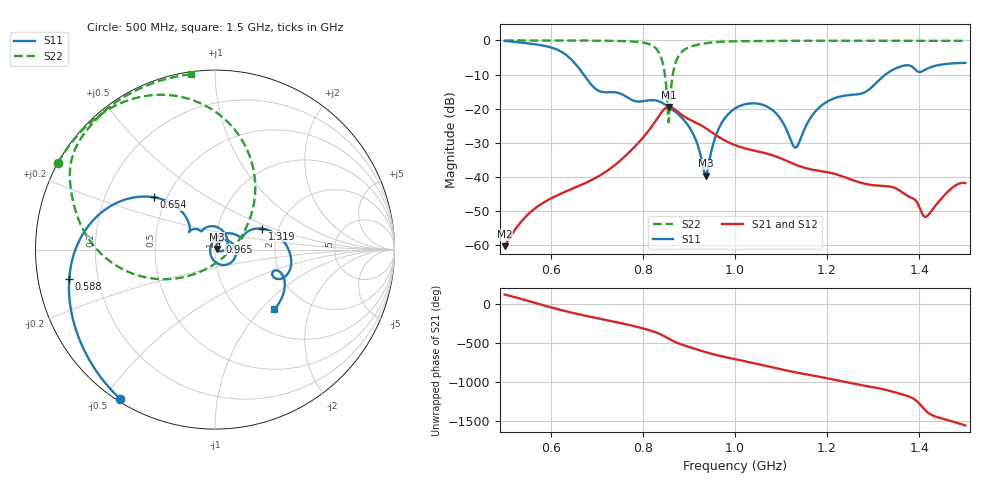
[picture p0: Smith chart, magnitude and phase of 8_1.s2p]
! TOUCHSTONE file generated by CST MICROWAVE STUDIO
! Date and time: Mon Oct 26 12:05:28 2020
! Project name: Scenario_1_Circular_Tissue_out_of_Line_v2.cst
! Parameters = {dy1=-224.9; L_HA=400; MT=2.54; Rad_Dielectric=30; Rad_Lower=7.3; Rad_Upper=30; a_HA=580; a_WG=246; b_HA=500; b_WG=121; c_HA=0; c_WG=187; d_feed=85; dx1=173; h_feed=15; h_lower=18; h_upper=40}
! Header version: 2018
! Port assignment regex: !\s*Touchstone port\s*([0-9]+)\s*=\s*(CST MWS port|CST DS port)\s*([0-9]+|Zmin|Zmax)\s*\(\"(.*)\"\)(\s*mode\s*([0-9]+))?.*
! Touchstone port assignment:
! Touchstone port 1 = CST MWS port 1 ("")
! Touchstone port 2 = CST MWS port 2 ("")
# GHz S DB R 50
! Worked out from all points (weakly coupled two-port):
!   1003 points, 500 MHz to 1.5 GHz, reference 50 ohm
!   highest |S21| = -19.48 dB at 857 MHz (marker M1); lowest = -60.3 dB at 500 MHz (marker M2)
!   lowest |S11| = -39.7 dB at 936 MHz (marker M3), VSWR 1.02, Z = 51 + j0.392 ohm
!   |S11| at or under -10 dB: 671.5 MHz to 1.327 GHz (655.1 MHz wide, 65.6 % of centre)
!   |S22| runs from -24.0 to 0.0 dB; largest |S21 - S12| = 2e-05
!   S11 on the Smith chart (normalised r, x): 500 MHz: 0.01, -0.55; 588 MHz: 0.09, -0.10; 654 MHz: 0.42, +0.31; 965 MHz: 1.05, +0.09; 1.319 GHz: 1.64, +0.42; 1.5 GHz: 1.40, -1.19
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0.5  -0.14 -122.6  -60.34 119.7  -60.34 119.7  -0.01 151.1
0.588  -1.63 -168.6  -47.28 -24.2  -47.28 -24.2  -0.02 145.0
0.654  -6.94 139.6  -43.08 -123.1  -43.08 -123.1  -0.04 139.6
0.667  -9.18 133.1  -42.32 -140.5  -42.32 -140.5  -0.04 138.4
0.703  -14.70 139.6  -39.91 174.6  -39.91 174.6  -0.07 134.5
0.781  -17.71 127.6  -31.36 75.9  -31.36 75.9  -0.34 120.0
0.834  -17.82 89.4  -22.32 -17.4  -22.32 -17.4  -3.34 81.0
0.846  -18.62 72.8  -20.22 -51.3  -20.22 -51.3  -8.41 54.0
0.857  -19.64 58.3  -19.48 -87.4  -19.48 -87.4  -22.83 -81.7
0.867  -20.58 45.0  -20.01 -118.2  -20.01 -118.2  -8.58 -154.1
0.878  -21.81 29.6  -21.15 -146.1  -21.15 -146.1  -4.46 -174.5
0.911  -27.93 -12.5  -23.84 149.5  -23.84 149.5  -1.53 160.8
0.936  -39.67 21.7  -25.68 103.8  -25.67 103.8  -0.83 152.9
0.965  -25.78 61.6  -28.33 58.7  -28.33 58.7  -0.42 146.1
1  -19.96 21.8  -30.69 13.3  -30.69 13.3  -0.26 140.2
1.075  -19.82 -56.9  -33.40 -83.5  -33.40 -83.5  -0.16 132.0
1.131  -31.44 175.0  -36.40 -154.5  -36.40 -154.5  -0.10 127.1
1.167  -22.09 74.5  -37.88 166.8  -37.88 166.8  -0.09 124.1
1.319  -10.84 24.1  -42.64 -8.0  -42.64 -8.0  -0.09 112.6
1.334  -9.29 15.7  -42.81 -29.1  -42.81 -29.1  -0.09 111.5
1.414  -8.50 -18.6  -51.74 73.2  -51.73 73.2  -0.10 105.2
1.5  -6.59 -45.2  -41.82 -114.2  -41.81 -114.1  -0.13 97.8
